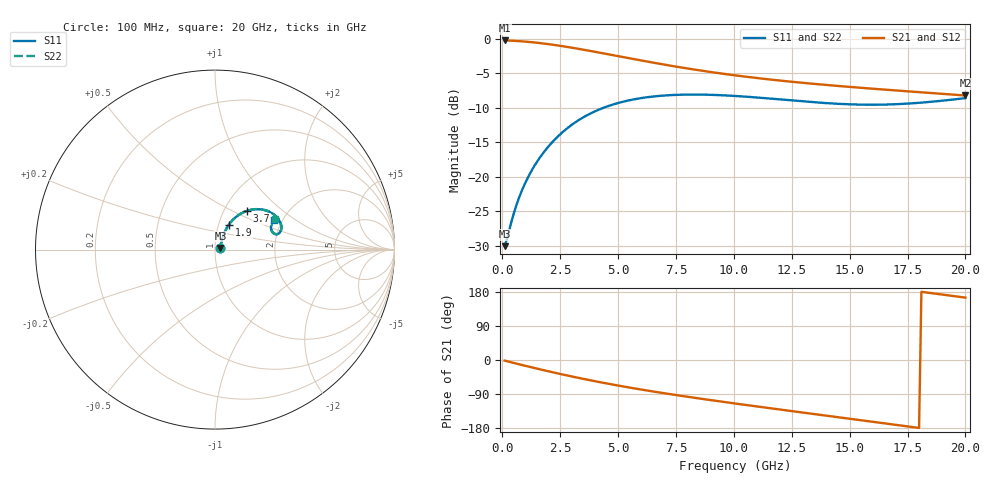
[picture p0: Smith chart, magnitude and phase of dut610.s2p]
! Touchstone file exported from HFSS 2024.1.0
!  File:  C:/UserFiles/LocalFiles/RDL_TSV_Batchsim/temp_RDL_TSV_610_1779799076.aedt
!  Generated:  08:52:20 PM May 26, 2026
!  Design:  RDL_TSV
!  Project:  temp_RDL_TSV_610_1779799076
!  Setup:  Setup1
!  Solution:  Sweep
! Variables:
!  dtsv = 5.88um
!  hbump = 3um
!  htsv = 52.27um
!  ldown = 221.72um
!  lrdl = 582.89um
!  p = 40
!  p1 = 46.5um
!  rhole = 10um
!  subl = 2996.72um
!  t = 450um
!  tdown = 2.08um
!  trdl = 2.3um
!  viad = 10um
!  wdown = 28.72um
!  wrdl = 13.87um
!  xbump = 18um
# GHz S MA R 50.000000
! Terminal data exported
! Port[1] = TM1_1_T1
! Port[2] = TM1_4_T1
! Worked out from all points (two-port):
!   200 points, 100 MHz to 20 GHz, reference 50 ohm
!   highest |S21| = -0.27 dB at 100 MHz (marker M1); lowest = -8.2 dB at 20 GHz (marker M2)
!   |S21| within 3 dB of the highest: start of sweep to 6.166 GHz
!   lowest |S11| = -30.1 dB at 100 MHz (marker M3), VSWR 1.06, Z = 53.1 + j0.922 ohm
!   |S11| at or under -10 dB: start of sweep to 4.382 GHz
!   |S22| runs from -30.1 to -8.1 dB; largest |S21 - S12| = 1.2e-14
!   S11 on the Smith chart (normalised r, x): 100 MHz: 1.06, +0.02; 1.9 GHz: 1.12, +0.32; 3.7 GHz: 1.28, +0.60; 20 GHz: 1.81, +0.70
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0.1  0.03143 16.0  0.9698 -1.6  0.9698 -1.6  0.03143 16.0
! Gamma 0 0 0 0
! Port Impedance 50 0 50 0
0.6  0.06156 52.7  0.9618 -9.4  0.9618 -9.4  0.06155 52.7
0.9  0.08342 58.3  0.9541 -13.9  0.9541 -13.9  0.08342 58.3
1.1  0.09828 60.1  0.948 -16.9  0.948 -16.9  0.09828 60.2
1.4  0.1209 61.3  0.9375 -21.3  0.9375 -21.3  0.1209 61.4
1.9  0.1587 60.9  0.9165 -28.5  0.9165 -28.5  0.1587 61.0
2.6  0.2101 57.7  0.8817 -38.2  0.8817 -38.2  0.2102 57.8
3  0.2376 55.2  0.8599 -43.5  0.8599 -43.5  0.2378 55.3
3.5  0.2693 51.7  0.8317 -49.8  0.8317 -49.8  0.2696 51.8
3.7  0.281 50.3  0.8203 -52.3  0.8203 -52.3  0.2813 50.4
4.4  0.3171 45.1  0.7802 -60.7  0.7802 -60.7  0.3176 45.2
5.1  0.3454 40.1  0.7414 -68.5  0.7414 -68.5  0.346 40.2
5.9  0.3688 34.8  0.6996 -77.0  0.6996 -77.0  0.3696 34.9
6.8  0.385 29.5  0.657 -85.9  0.657 -85.9  0.386 29.6
8.4  0.3936 21.9  0.5933 -100.6  0.5933 -100.6  0.3947 22.1
10.1  0.384 16.6  0.5408 -115.2  0.5408 -115.2  0.3853 16.8
11.7  0.3664 14.2  0.5029 -128.3  0.5029 -128.3  0.3678 14.3
13.4  0.3468 14.3  0.4713 -142.1  0.4713 -142.1  0.3482 14.4
15  0.3345 16.7  0.4471 -155.0  0.4471 -155.0  0.3358 16.8
16.7  0.3337 20.7  0.425 -168.7  0.425 -168.7  0.3349 20.7
18.3  0.3462 24.3  0.4062 178.3  0.4062 178.3  0.3475 24.4
20  0.3707 26.9  0.3875 164.6  0.3875 164.6  0.372 26.9
